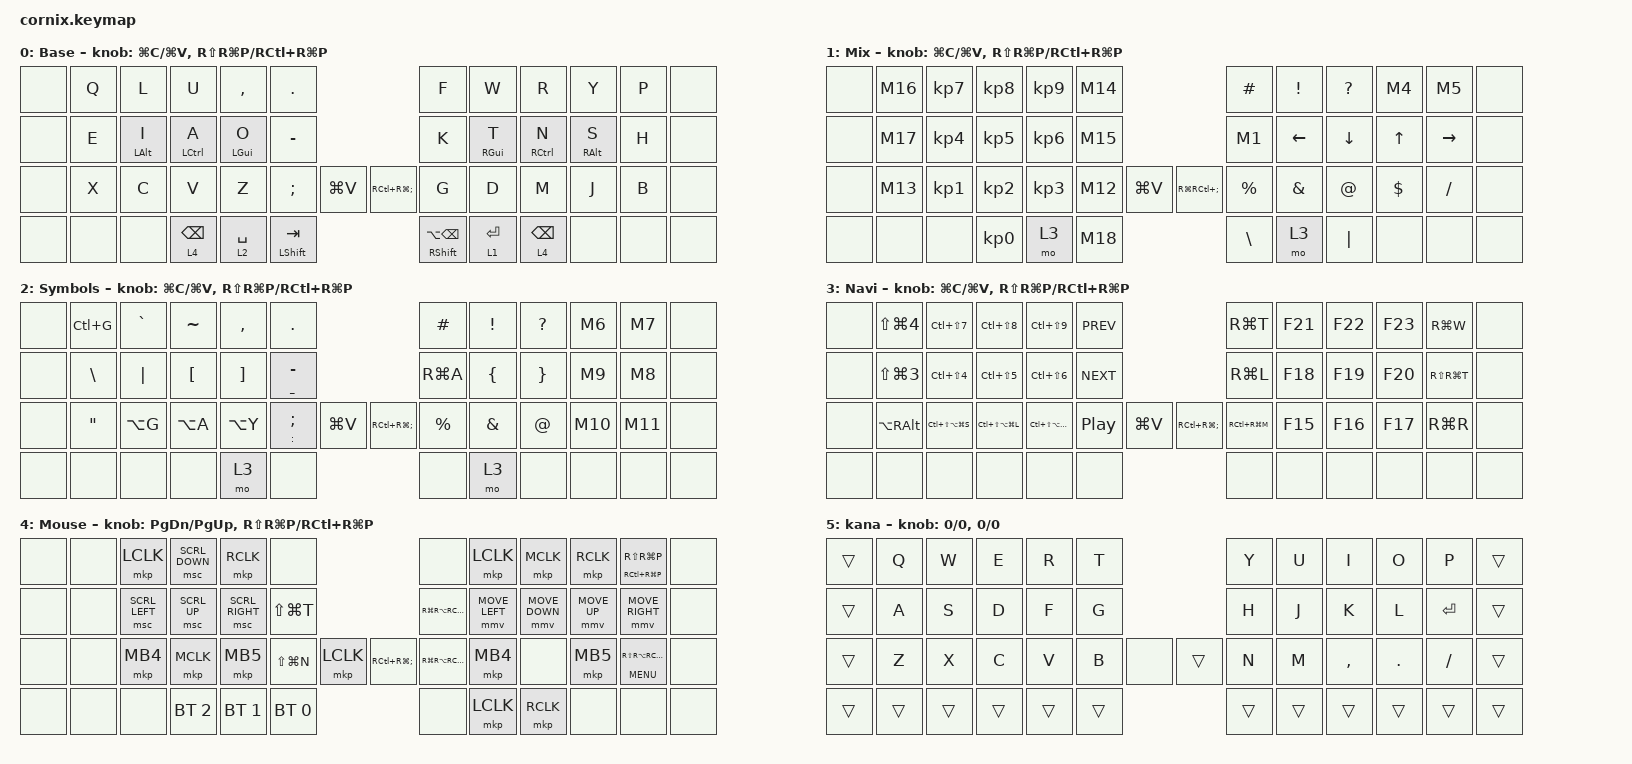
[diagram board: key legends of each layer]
/*
 * Copyright (c) 2020 The ZMK Contributors
 *
 * SPDX-License-Identifier: MIT
 */
/*
 * Generated for Kazuaki / orange-o-range on 2026-06-12.
 *
 * Intent:
 * - Use the current numachang/cornix-zmk-custom style as the base.
 * - Bring back the old Cornix day-to-day layout, combos and macros.
 * - Avoid the old dependency on zmk-helpers/helper.h and includes/cornix54.h.
 * - Keep HRM closer to QMK/Vial "Ignore Mod Tap Interrupt" usage:
 *   tap-preferred + prior-idle instead of positional opposite-hand-only HRM.
 * - Split Backspace/Shift:
 *   - left outer thumb: Backspace / Mouse layer
 *   - right middle thumb: Sticky Right Shift
 *   - right outer thumb: Word delete / Mouse layer
 */

#include <behaviors.dtsi>
#include <dt-bindings/zmk/bt.h>
#include <dt-bindings/zmk/keys.h>
#include <dt-bindings/zmk/pointing.h>

#define BASE   0
#define MIX    1
#define SYM    2
#define NAVI   3
#define MOUSE  4

/ {
    behaviors {
        /*
         * QMK-ish home-row mod.
         *
         * This is intentionally tap-preferred because the Corne/QMK setup is
         * tuned around Ignore Mod Tap Interrupt. It should reduce accidental
         * mod activation during same-hand rolls while still allowing deliberate
         * holds for shortcuts.
         */

        hm_qmkish: hm_qmkish {
            compatible = "zmk,behavior-hold-tap";
            label = "HM_QMKISH";
            #binding-cells = <2>;
            bindings = <&kp>, <&kp>;

            flavor = "tap-preferred";
            tapping-term-ms = <200>;
            quick-tap-ms = <150>;
            require-prior-idle-ms = <125>;
        };

        /*
         * Layer-tap tuned for thumbs.
         * Hold: layer, Tap: key.
         */

        lt175: layer_tap_175 {
            compatible = "zmk,behavior-hold-tap";
            label = "LT175";
            #binding-cells = <2>;
            bindings = <&mo>, <&kp>;

            flavor = "balanced";
            tapping-term-ms = <175>;
            quick-tap-ms = <200>;
        };

        /*
         * Tab / Shift.
         * Hold: Shift, Tap: Tab.
         */

        tab_shift: tab_shift {
            compatible = "zmk,behavior-hold-tap";
            label = "TAB_SHIFT";
            #binding-cells = <2>;
            bindings = <&kp>, <&kp>;

            flavor = "tap-preferred";
            tapping-term-ms = <190>;
            quick-tap-ms = <220>;
            require-prior-idle-ms = <100>;
        };

        /*
         * Small mod-tap behaviors kept from the old keymap for symbol-layer
         * punctuation and mouse-layer shortcuts.
         */

        mt170_behavior: mt170_behavior {
            compatible = "zmk,behavior-hold-tap";
            label = "MT170_BEHAVIOR";
            #binding-cells = <2>;
            bindings = <&kp>, <&kp>;

            flavor = "tap-preferred";
            tapping-term-ms = <170>;
            quick-tap-ms = <120>;
            require-prior-idle-ms = <100>;
        };

        mt220_behavior: mt220_behavior {
            compatible = "zmk,behavior-hold-tap";
            label = "MT220_BEHAVIOR";
            #binding-cells = <2>;
            bindings = <&kp>, <&kp>;

            flavor = "tap-preferred";
            tapping-term-ms = <220>;
            quick-tap-ms = <100>;
        };
    };

    conditional_layers { compatible = "zmk,conditional-layers"; };

    combos {
        compatible = "zmk,combos";

        esc {
            bindings = <&kp ESC>;
            key-positions = <1 2>;
            layers = <BASE>;
            timeout-ms = <100>;
            require-prior-idle-ms = <150>;
        };

        eisuu {
            bindings = <&kp LANG2>;
            key-positions = <15 16>;
            layers = <0>;
            timeout-ms = <100>;
            require-prior-idle-ms = <150>;
        };

        kana {
            bindings = <&kp LANG1>;
            key-positions = <20 19>;
            layers = <0>;
            timeout-ms = <100>;
            require-prior-idle-ms = <150>;
        };

        memo {
            bindings = <&kp RA(RS(RC(RG(RET))))>;
            key-positions = <36 35>;
            layers = <BASE>;
            timeout-ms = <100>;
            require-prior-idle-ms = <150>;
        };

        cmd_enter {
            bindings = <&kp RG(RET)>;
            key-positions = <34 33>;
            layers = <BASE>;
            timeout-ms = <100>;
            require-prior-idle-ms = <150>;
        };

        raycast {
            bindings = <&kp LA(SPACE)>;
            key-positions = <27 28>;
            layers = <BASE>;
            timeout-ms = <100>;
            require-prior-idle-ms = <150>;
        };

        home {
            bindings = <&kp HOME>;
            key-positions = <20 19>;
            layers = <1>;
            timeout-ms = <100>;
            require-prior-idle-ms = <150>;
        };

        end {
            bindings = <&kp END>;
            key-positions = <22 21>;
            layers = <1>;
            timeout-ms = <100>;
            require-prior-idle-ms = <150>;
        };

        iPad_obsidian {
            bindings = <&kp RC(RET)>;
            key-positions = <7 8>;
            layers = <BASE>;
            timeout-ms = <100>;
            require-prior-idle-ms = <150>;
        };

        FN {
            bindings = <&kp K_MENU>;
            key-positions = <9 10>;
            layers = <BASE>;
            timeout-ms = <100>;
            require-prior-idle-ms = <150>;
        };

        ctrl+cmd_left {
            bindings = <&ctrl_cmd>;
            key-positions = <15 14>;
            layers = <0>;
            slow-release;
        };

        ctrl+cmd_right {
            bindings = <&ctrl_cmd>;
            key-positions = <20 21>;
            slow-release;
            layers = <0>;
        };
    };

    macros {
        M1: M1 {
            compatible = "zmk,behavior-macro";
            #binding-cells = <0>;
            bindings = <&kp LANG2 &kp DOT &kp DOT &kp DOT &kp LANG1>;
            label = "M1";
        };

        M2: M2 {
            compatible = "zmk,behavior-macro";
            #binding-cells = <0>;
            bindings = <&kp LANG1 &kp DOUBLE_QUOTES &kp DOUBLE_QUOTES &kp RET &kp LEFT>;
            label = "M2";
        };

        M3: M3 {
            compatible = "zmk,behavior-macro";
            #binding-cells = <0>;
            bindings = <&kp LANG1 &kp SQT &kp SQT &kp RET &kp LEFT>;
            label = "M3";
        };

        M4: M4 {
            compatible = "zmk,behavior-macro";
            #binding-cells = <0>;
            bindings = <&kp LANG1 &kp LEFT_PARENTHESIS &kp RIGHT_PARENTHESIS &kp RET &kp LEFT>;
            label = "M4";
        };

        M5: M5 {
            compatible = "zmk,behavior-macro";
            #binding-cells = <0>;
            bindings = <&kp LANG1 &kp LEFT_BRACKET &kp RIGHT_BRACKET &kp RET &kp LEFT>;
            label = "M5";
        };

        M6: M6 {
            compatible = "zmk,behavior-macro";
            #binding-cells = <0>;
            bindings = <&kp LANG2 &kp LEFT_PARENTHESIS &kp RIGHT_PARENTHESIS &kp LEFT>;
            label = "M6";
        };

        M7: M7 {
            compatible = "zmk,behavior-macro";
            #binding-cells = <0>;
            bindings = <&kp LANG2 &kp LESS_THAN &kp GREATER_THAN &kp LEFT>;
            label = "M7";
        };

        M8: M8 {
            compatible = "zmk,behavior-macro";
            #binding-cells = <0>;
            bindings = <&kp LANG2 &kp LEFT_BRACE &kp RIGHT_BRACE &kp LEFT>;
            label = "M8";
        };

        M9: M9 {
            compatible = "zmk,behavior-macro";
            #binding-cells = <0>;
            bindings = <&kp LANG2 &kp LEFT_BRACKET &kp RIGHT_BRACKET &kp LEFT>;
            label = "M9";
        };

        M10: M10 {
            compatible = "zmk,behavior-macro";
            #binding-cells = <0>;
            bindings = <&kp LANG2 &kp DOUBLE_QUOTES &kp DOUBLE_QUOTES &kp LEFT>;
            label = "M10";
        };

        M11: M11 {
            compatible = "zmk,behavior-macro";
            #binding-cells = <0>;
            bindings = <&kp LANG2 &kp SQT &kp SQT &kp LEFT>;
            label = "M11";
        };

        M12: M12 {
            compatible = "zmk,behavior-macro";
            #binding-cells = <0>;
            bindings = <&kp LANG2 &kp PERIOD>;
            label = "M12";
        };

        M13: M13 {
            compatible = "zmk,behavior-macro";
            #binding-cells = <0>;
            bindings = <&kp LANG2 &kp COMMA>;
            label = "M13";
        };

        M14: M14 {
            compatible = "zmk,behavior-macro";
            #binding-cells = <0>;
            bindings = <&kp LANG2 &kp PLUS>;
            label = "M14";
        };

        M15: M15 {
            compatible = "zmk,behavior-macro";
            #binding-cells = <0>;
            bindings = <&kp LANG2 &kp MINUS>;
            label = "M15";
        };

        M16: M16 {
            compatible = "zmk,behavior-macro";
            #binding-cells = <0>;
            bindings = <&kp LANG2 &kp ASTERISK>;
            label = "M16";
        };

        M17: M17 {
            compatible = "zmk,behavior-macro";
            #binding-cells = <0>;
            bindings = <&kp LANG2 &kp SLASH>;
            label = "M17";
        };

        M18: M18 {
            compatible = "zmk,behavior-macro";
            #binding-cells = <0>;
            bindings = <&kp LANG2 &kp EQUAL>;
            label = "M18";
        };

        ctrl_cmd: ctrl_cmd {
            compatible = "zmk,behavior-macro";
            #binding-cells = <0>;
            bindings =
                <&macro_press>,
                <&kp LCTRL &kp LGUI>,
                <&macro_pause_for_release>,
                <&macro_release>,
                <&kp LGUI &kp LCTRL>;

            label = "CTRL_CMD";
        };
    };

    keymap {
        compatible = "zmk,keymap";

        Base {
            display-name = "Base";
            bindings = <
&none  &kp Q  &kp L              &kp U               &kp COMMA          &kp PERIOD                                                   &kp F                                 &kp W              &kp R               &kp Y              &kp P  &none
&none  &kp E  &hm_qmkish LALT I  &hm_qmkish LCTRL A  &hm_qmkish LGUI O  &kp MINUS                                                    &kp K                                 &hm_qmkish RGUI T  &hm_qmkish RCTRL N  &hm_qmkish RALT S  &kp H  &none
&none  &kp X  &kp C              &kp V               &kp Z              &kp SEMICOLON              &kp LG(V)  &kp RC(RG(SEMICOLON))  &kp G                                 &kp D              &kp M               &kp J              &kp B  &none
&none  &none  &none              &lt175 4 BACKSPACE  &lt175 2 SPACE     &tab_shift LEFT_SHIFT TAB                                    &tab_shift RIGHT_SHIFT LA(BACKSPACE)  &lt175 1 ENTER     &lt175 4 BACKSPACE  &none              &none  &none
            >;

            sensor-bindings =
                <&inc_dec_kp LG(C) LG(V)>,
                <&inc_dec_kp RS(RG(P)) RC(RG(P))>;
        };

        Mix {
            display-name = "Mix";
            bindings = <
&none  &M16   &kp KP_N7  &kp KP_N8        &kp KP_N9  &M14                                    &kp HASH       &kp EXCLAMATION  &kp QUESTION  &M4         &M5        &none
&none  &M17   &kp KP_N4  &kp KP_N5        &kp KP_N6  &M15                                    &M1            &kp LEFT         &kp DOWN      &kp UP      &kp RIGHT  &none
&none  &M13   &kp KP_N1  &kp KP_N2        &kp KP_N3  &M12  &kp LG(V)  &kp RG(RC(SEMICOLON))  &kp PERCENT    &kp AMPERSAND    &kp AT_SIGN   &kp DOLLAR  &kp SLASH  &none
&none  &none  &none      &kp KP_NUMBER_0  &mo 3      &M18                                    &kp BACKSLASH  &mo 3            &kp PIPE      &none       &none      &none
            >;

            sensor-bindings =
                <&inc_dec_kp LG(C) LG(V)>,
                <&inc_dec_kp RS(RG(P)) RC(RG(P))>;
        };

        Symbols {
            display-name = "Symbols";
            bindings = <
&none  &kp LC(G)          &kp GRAVE  &kp TILDE         &kp COMMA          &kp DOT                                                             &kp HASH     &kp EXCLAMATION  &kp QUESTION     &M6    &M7    &none
&none  &kp BACKSLASH      &kp PIPE   &kp LEFT_BRACKET  &kp RIGHT_BRACKET  &mt170_behavior UNDERSCORE MINUS                                    &kp RG(A)    &kp LEFT_BRACE   &kp RIGHT_BRACE  &M9    &M8    &none
&none  &kp DOUBLE_QUOTES  &kp LA(G)  &kp LA(A)         &kp LA(Y)          &mt170_behavior COLON SEMI        &kp LG(V)  &kp RC(RG(SEMICOLON))  &kp PERCENT  &kp AMPERSAND    &kp AT_SIGN      &M10   &M11   &none
&none  &none              &none      &none             &mo 3              &none                                                               &none        &mo 3            &none            &none  &none  &none
            >;

            sensor-bindings =
                <&inc_dec_kp LG(C) LG(V)>,
                <&inc_dec_kp RS(RG(P)) RC(RG(P))>;
        };

        Navi {
            display-name = "Navi";
            bindings = <
&none  &kp LS(LG(N4))     &kp LC(LS(N7))         &kp LC(LS(N8))         &kp LC(LS(N9))              &kp C_PREV                                    &kp RG(T)      &kp F21  &kp F22  &kp F23  &kp RG(W)      &none
&none  &kp LS(LG(N3))     &kp LC(LS(N4))         &kp LC(LS(N5))         &kp LC(LS(N6))              &kp C_NEXT                                    &kp RG(L)      &kp F18  &kp F19  &kp F20  &kp RS(RG(T))  &none
&none  &kp LA(RIGHT_ALT)  &kp LC(LS(LA(LG(S))))  &kp LC(LS(LA(LG(L))))  &kp LC(LS(LA(LG(DELETE))))  &kp C_PP    &kp LG(V)  &kp RC(RG(SEMICOLON))  &kp RC(RG(M))  &kp F15  &kp F16  &kp F17  &kp RG(R)      &none
&none  &none              &none                  &none                  &none                       &none                                         &none          &none    &none    &none    &none          &none
            >;

            sensor-bindings =
                <&inc_dec_kp LG(C) LG(V)>,
                <&inc_dec_kp RS(RG(P)) RC(RG(P))>;
        };

        Mouse {
            display-name = "Mouse";
            bindings = <
&none  &none  &mkp LCLK       &msc SCRL_DOWN  &mkp RCLK        &none                                            &none              &mkp LCLK       &mkp MCLK       &mkp RCLK     &mt220_behavior RC(RG(P)) RS(RG(P))       &none
&none  &none  &msc SCRL_LEFT  &msc SCRL_UP    &msc SCRL_RIGHT  &kp LS(LG(T))                                    &kp RG(RA(RC(T)))  &mmv MOVE_LEFT  &mmv MOVE_DOWN  &mmv MOVE_UP  &mmv MOVE_RIGHT                           &none
&none  &none  &mkp MB4        &mkp MCLK       &mkp MB5         &kp LS(LG(N))  &mkp LCLK  &kp RC(RG(SEMICOLON))  &kp RG(RA(RC(N)))  &mkp MB4        &none           &mkp MB5      &mt220_behavior K_MENU RS(RA(RC(RG(T))))  &none
&none  &none  &none           &bt BT_SEL 2    &bt BT_SEL 1     &bt BT_SEL 0                                     &none              &mkp LCLK       &mkp RCLK       &none         &none                                     &none
            >;

            sensor-bindings =
                <&inc_dec_kp PAGE_DOWN PAGE_UP>,
                <&inc_dec_kp RS(RG(P)) RC(RG(P))>;
        };

        kana {
            bindings = <
&trans  &kp Q   &kp W   &kp E   &kp R   &kp T                  &kp Y   &kp U   &kp I      &kp O    &kp P      &trans
&trans  &kp A   &kp S   &kp D   &kp F   &kp G                  &kp H   &kp J   &kp K      &kp L    &kp ENTER  &trans
&trans  &kp Z   &kp X   &kp C   &kp V   &kp B   &none  &trans  &kp N   &kp M   &kp COMMA  &kp DOT  &kp FSLH   &trans
&trans  &trans  &trans  &trans  &trans  &trans                 &trans  &trans  &trans     &trans   &trans     &trans
            >;

            sensor-bindings = <&inc_dec_kp 0 0>, <&inc_dec_kp 0 0>;
        };
    };
};
